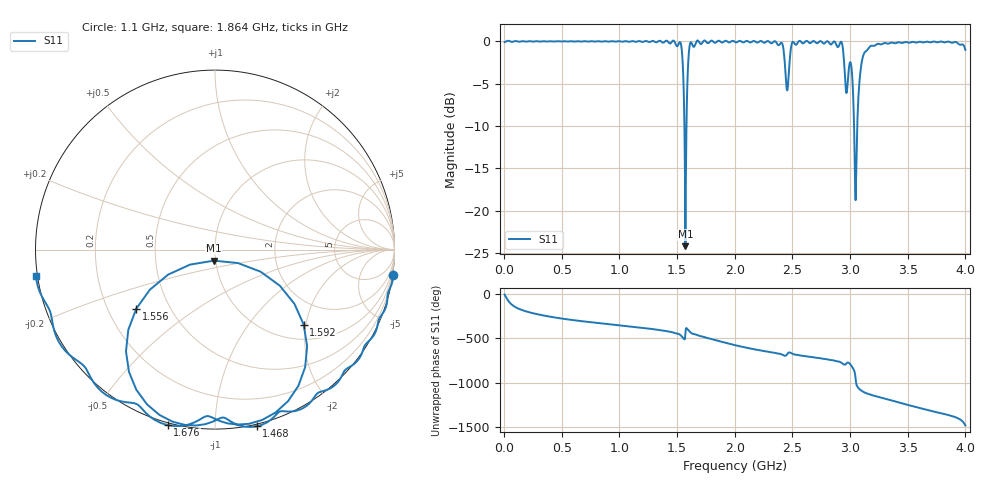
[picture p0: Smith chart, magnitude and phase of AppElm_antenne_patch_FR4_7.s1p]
! TOUCHSTONE file generated by CST MICROWAVE STUDIO
! Date and time: Tue Jun  7 20:51:57 2022
! Project name: AppElm_antenne_patch_FR4.cst
! Parameters = {L=45; W=58.5; e=0.035; h=1.6; lambda=0.190476; ls=120; w0=1.6; w1=0.533333; ws=120; y0=20; y1=25}
! Header version: 2018
! Port assignment regex: !\s*Touchstone port\s*([0-9]+)\s*=\s*(CST MWS port|CST DS port)\s*([0-9]+|Zmin|Zmax)\s*\(\"(.*)\"\)(\s*mode\s*([0-9]+))?.*
! Touchstone port assignment:
! Touchstone port 1 = CST MWS port 1 ("")
# GHz S MA R 50
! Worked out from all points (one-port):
!   1000 points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, 4 MHz to 4 GHz, reference 50 ohm
!   lowest |S11| = -24.2 dB at 1.572 GHz (marker M1), VSWR 1.13, Z = 49 - j6.06 ohm
!   |S11| at or under -10 dB: 1.563 GHz to 1.581 GHz (17.89 MHz wide, 1.14 % of centre); 3.034 GHz to 3.062 GHz (27.75 MHz wide, 0.91 % of centre)
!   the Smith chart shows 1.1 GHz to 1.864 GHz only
!   S11 on the Smith chart (normalised r, x): 1.1 GHz: -0, -14; 1.468 GHz: -0.01, -1.26; 1.556 GHz: 0.32, -0.30; 1.592 GHz: 1.35, -1.94; 1.676 GHz: -0.01, -0.77; 1.864 GHz: -0.00, -0.07
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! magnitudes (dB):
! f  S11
! 4 MHz  -0.1
! 504 MHz  0.0
! 1.004 GHz  0.0
! 1.1 GHz  0.0
! 1.468 GHz  0.1
! 1.504 GHz  -0.5
! 1.536 GHz  -0.5
! 1.556 GHz  -5.2
! 1.572 GHz  -24.2
! 1.592 GHz  -3.8
! 1.6 GHz  -1.7
! 1.612 GHz  -0.3
! 1.676 GHz  0.1
! 1.864 GHz  0.1
! 2.004 GHz  -0.1
! 2.4 GHz  -0.2
! 2.456 GHz  -5.8
! 2.504 GHz  0.0
! 2.916 GHz  -0.1
! 2.968 GHz  -6.1
! 3.004 GHz  -2.5
! 3.016 GHz  -3.7
! 3.036 GHz  -10.9
! 3.052 GHz  -16.3
! 3.088 GHz  -3.8
! 3.128 GHz  -1.3
! 3.504 GHz  -0.1
! 4 GHz  -1.0
